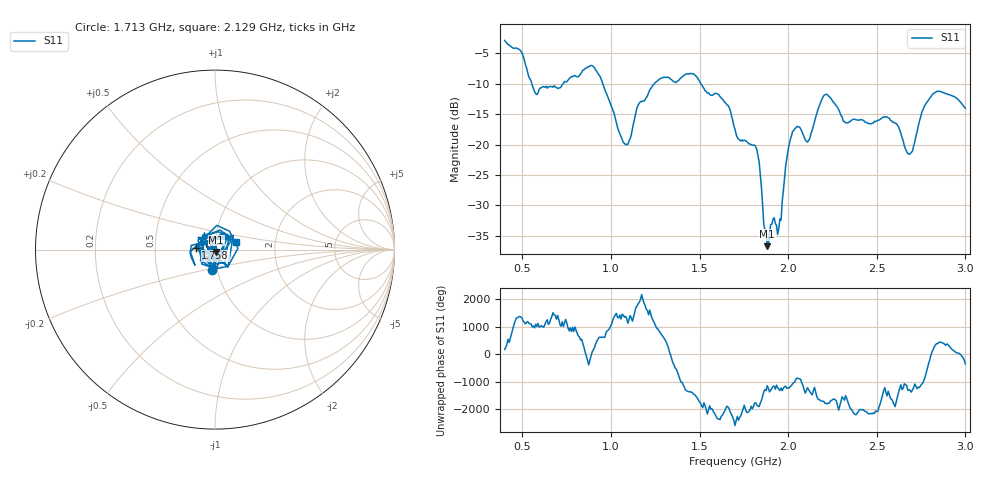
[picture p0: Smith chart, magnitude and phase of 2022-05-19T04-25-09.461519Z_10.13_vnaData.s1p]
!Created with skrf (http://scikit-rf.org).
# Hz S RI R 50.0
!freq ReS11 ImS11
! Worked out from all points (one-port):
!   401 points, 400 MHz to 3 GHz, reference 50 ohm
!   lowest |S11| = -36.7 dB at 1.882 GHz (marker M1), VSWR 1.03, Z = 50.7 - j1.31 ohm
!   |S11| at or under -10 dB: 553.6 MHz to 729.9 MHz (176.3 MHz wide, 27.5 % of centre); 954 MHz to 1.245 GHz (290.9 MHz wide, 26.5 % of centre); 1.508 GHz to end of sweep
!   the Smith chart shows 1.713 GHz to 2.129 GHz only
!   S11 on the Smith chart (normalised r, x): 1.713 GHz: 0.94, -0.22; 1.758 GHz: 0.81, +0.02; 2.129 GHz: 1.26, +0.11
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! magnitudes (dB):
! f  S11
! 400 MHz  -2.9
! 491 MHz  -4.6
! 575.5 MHz  -11.6
! 725 MHz  -10.1
! 900.5 MHz  -7.2
! 1.05 GHz  -18.2
! 1.095 GHz  -20.0
! 1.154 GHz  -13.5
! 1.258 GHz  -9.6
! 1.375 GHz  -9.6
! 1.472 GHz  -8.5
! 1.655 GHz  -13.4
! 1.7 GHz  -17.5
! 1.713 GHz  -18.8
! 1.758 GHz  -19.4
! 1.823 GHz  -20.9
! 1.869 GHz  -34.1
! 1.882 GHz  -36.7
! 1.947 GHz  -33.8
! 1.992 GHz  -22.2
! 2.025 GHz  -17.8
! 2.129 GHz  -18.1
! 2.213 GHz  -11.7
! 2.35 GHz  -16.2
! 2.558 GHz  -15.5
! 2.675 GHz  -21.4
! 2.825 GHz  -11.5
! 3 GHz  -14.0
